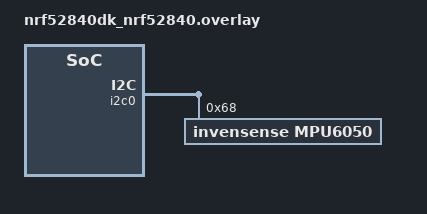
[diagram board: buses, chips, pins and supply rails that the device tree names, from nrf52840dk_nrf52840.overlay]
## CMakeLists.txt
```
cmake_minimum_required(VERSION 3.20.0)
find_package(Zephyr REQUIRED HINTS $ENV{ZEPHYR_BASE})

project(l8_ex2)

target_sources(app PRIVATE src/main.c)
```

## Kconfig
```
source "Kconfig.zephyr"  
config MYFUNCTION
    bool "Enable my function"
    default n
```

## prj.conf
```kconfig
CONFIG_PRINTK=y
CONFIG_TIMESLICING=y
CONFIG_TIMESLICE_SIZE=10
CONFIG_TIMESLICE_PRIORITY=4

CONFIG_ENTROPY_GENERATOR=y
CONFIG_TEST_RANDOM_GENERATOR=y
```

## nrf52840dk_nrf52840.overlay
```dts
&i2c0 {
    mpu6050: mpu6050@68 {
        compatible = "invensense,mpu6050";
        status = "okay";
        reg = <0x68>;
    };
};
```

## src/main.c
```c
/*
 * Copyright (c) 2017 Linaro Limited
 *
 * SPDX-License-Identifier: Apache-2.0
 */

#include <zephyr/kernel.h>
#include <zephyr/sys/printk.h>
#include "ncs_version.h"
#if NCS_VERSION_NUMBER < 0x20600
#include <zephyr/random/rand32.h>
#else 
#include <zephyr/random/random.h>
#endif
#include <string.h>

#define THREAD0_STACKSIZE 512
#define THREAD1_STACKSIZE 512

/* STEP 3 - Set the priority of the two threads to have equal priority*/
#define THREAD0_PRIORITY        4 
#define THREAD1_PRIORITY        4

/* STEP 5 - Define the two counters with a constant combined total */
#define COMBINED_TOTAL   40
int32_t increment_count = 0; 
int32_t decrement_count = COMBINED_TOTAL; 
/* STEP 11 - Define mutex to protect access to shared code section */
K_MUTEX_DEFINE(test_mutex);
// Shared code run by both threads
void shared_code_section(void)
{
	/* STEP 12.1 - Lock the mutex */
        k_mutex_lock(&test_mutex, K_FOREVER);
	/* STEP 6 - Increment count and decrement count changed */
	/* according to logic defined in exercise text */
        increment_count += 1;
        increment_count = increment_count % COMBINED_TOTAL; 
        decrement_count -= 1;
        if (decrement_count == 0) 
        {
                decrement_count = COMBINED_TOTAL;
        }
	/* STEP 12.2 - Unlock the mutex */
        k_mutex_unlock(&test_mutex);
	/* STEP 7 - Print counter values if they do not add up to COMBINED_TOTAL */
        if(increment_count + decrement_count != COMBINED_TOTAL )
        {
                printk("Race condition happend!\n");
                printk("Increment_count (%d) + Decrement_count (%d) = %d \n",
                increment_count, decrement_count, (increment_count + decrement_count));
                k_msleep(400 + sys_rand32_get() % 10);
        }
}

/* STEP 4 - Functions for thread0 and thread1 with a shared code section */
void thread0(void)
{
 printk("Thread 0 started\n");
 while (1) {
 shared_code_section(); 
 }
}  
void thread1(void)
{
 printk("Thread 1 started\n");
 while (1) {
 shared_code_section(); 
 }
}
// Define and initialize threads
K_THREAD_DEFINE(thread0_id, THREAD0_STACKSIZE, thread0, NULL, NULL, NULL, THREAD0_PRIORITY, 0,
		5000);

K_THREAD_DEFINE(thread1_id, THREAD1_STACKSIZE, thread1, NULL, NULL, NULL, THREAD1_PRIORITY, 0,
		5000);
```

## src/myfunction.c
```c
#include "myfunction.h"  
int sum(int a, int b){
    return a+b;
   }
```

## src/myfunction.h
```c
#ifndef MY_FUNCTION_H
#define MY_FUNCTION_H
  int sum(int a, int b); 
 #endif
```
